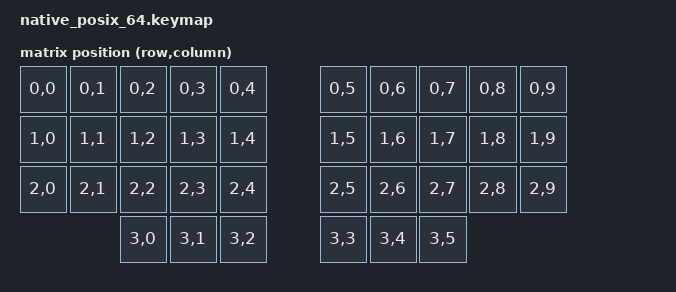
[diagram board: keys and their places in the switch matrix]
#include <dt-bindings/zmk/matrix_transform.h>
#include <dt-bindings/zmk/kscan_mock.h>

/ {
    chosen {
        zmk,matrix-transform = &transform;
    };

    /* op36 position N is RC(N/10, N%10); thumbs 30..35 are row 3. */
    transform: keymap_transform {
        compatible = "zmk,matrix-transform";
        columns = <10>;
        rows = <4>;
        map = <
            RC(0,0) RC(0,1) RC(0,2) RC(0,3) RC(0,4) RC(0,5) RC(0,6) RC(0,7) RC(0,8) RC(0,9)
            RC(1,0) RC(1,1) RC(1,2) RC(1,3) RC(1,4) RC(1,5) RC(1,6) RC(1,7) RC(1,8) RC(1,9)
            RC(2,0) RC(2,1) RC(2,2) RC(2,3) RC(2,4) RC(2,5) RC(2,6) RC(2,7) RC(2,8) RC(2,9)
            RC(3,0) RC(3,1) RC(3,2) RC(3,3) RC(3,4) RC(3,5)
        >;
    };
};

&kscan {
    rows = <4>;
    columns = <10>;
    events = <
        /* lead-in so require-prior-idle-ms sees real idle time */
        ZMK_MOCK_PRESS(0,1,10)
        ZMK_MOCK_RELEASE(0,1,400)

        /* Escape and Tab live on nav now, flanking the arrows: Escape at
           position 10, left of &kp LEFT, and Tab at position 14, right of
           &kp RIGHT. Both are on the left hand, which is the one held free by
           the right thumb on position 34.

           Hold 34 past the tapping term, then press each. Escape is 0x29 and
           Tab is 0x2B; the arrow between them is 0x50, proving the layer is
           really nav and not something falling through. */
        ZMK_MOCK_PRESS(3,4,300)
        ZMK_MOCK_PRESS(1,0,30)
        ZMK_MOCK_RELEASE(1,0,30)
        ZMK_MOCK_PRESS(1,1,30)
        ZMK_MOCK_RELEASE(1,1,30)
        ZMK_MOCK_PRESS(1,4,30)
        ZMK_MOCK_RELEASE(1,4,30)
        ZMK_MOCK_RELEASE(3,4,300)

        /* With 34 up, the same three positions are ordinary letters again:
           A (0x04), R (0x15) and G (0x0A) on en. */
        ZMK_MOCK_PRESS(1,0,30)
        ZMK_MOCK_RELEASE(1,0,30)
        ZMK_MOCK_PRESS(1,1,30)
        ZMK_MOCK_RELEASE(1,1,30)
        ZMK_MOCK_PRESS(1,4,30)
        ZMK_MOCK_RELEASE(1,4,300)
    >;
};

#include "/cfg/op36_ruen.keymap"
